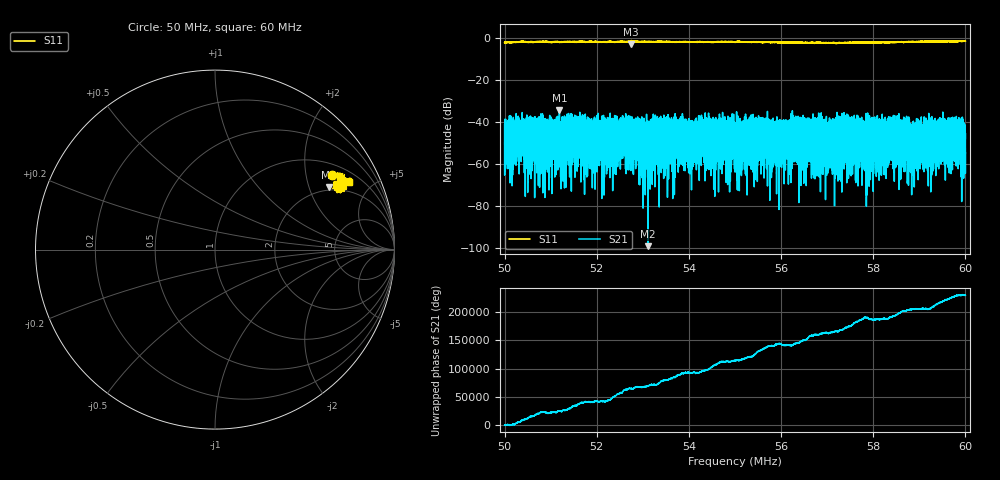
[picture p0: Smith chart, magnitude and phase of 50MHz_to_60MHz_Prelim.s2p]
# HZ S RI R 50
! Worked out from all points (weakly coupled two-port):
!   20200 points, 50 MHz to 60 MHz, reference 50 ohm
!   highest |S21| = -34.42 dB at 51.19 MHz (marker M1); lowest = -98.9 dB at 53.12 MHz (marker M2)
!   lowest |S11| = -2.8 dB at 52.74 MHz (marker M3), VSWR 6.20, Z = 93.2 + j136 ohm
!   |S11| at or under -10 dB: nowhere
!   S12 and S22 are empty: the file has one direction only
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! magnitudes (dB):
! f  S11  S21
! 50 MHz  -2.3  -41.3
! 50.05 MHz  -2.1  -48.1
! 50.19 MHz  -2.0  -46.8
! 50.3 MHz  -2.0  -43.3
! 50.98 MHz  -1.9  -44.0
! 51.19 MHz  -2.0  -34.4
! 51.67 MHz  -1.9  -46.1
! 52.74 MHz  -2.8  -38.3
! 53.12 MHz  -1.9  -98.9
! 53.33 MHz  -1.8  -49.0
! 55 MHz  -2.2  -49.0
! 55.54 MHz  -2.0  -58.1
! 55.79 MHz  -2.1  -66.3
! 56.67 MHz  -2.3  -43.1
! 57.2 MHz  -2.5  -44.1
! 57.76 MHz  -2.3  -43.6
! 57.89 MHz  -2.2  -45.4
! 58.33 MHz  -2.1  -48.5
! 58.85 MHz  -1.9  -44.8
! 59.68 MHz  -1.6  -40.3
! 59.91 MHz  -1.5  -45.5
! 60 MHz  -1.6  -54.7
